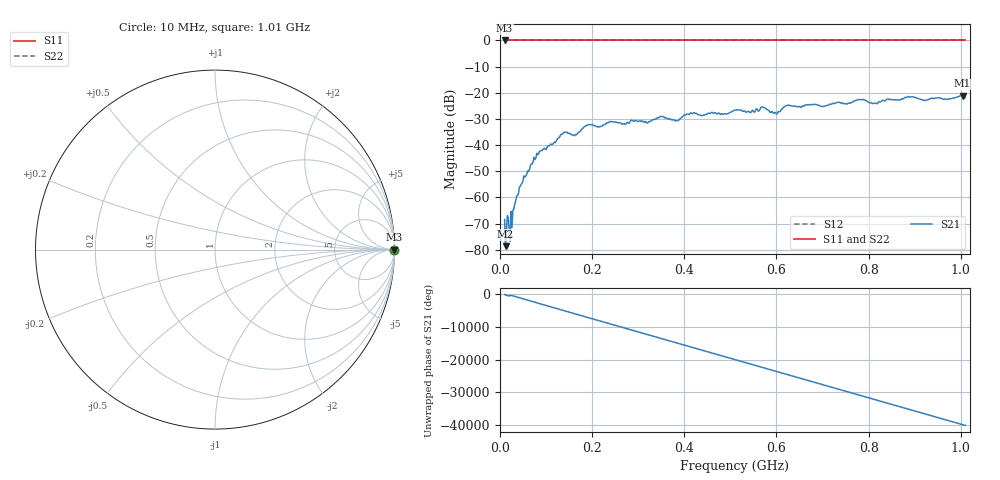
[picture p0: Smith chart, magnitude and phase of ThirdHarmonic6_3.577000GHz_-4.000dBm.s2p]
! 8/17/2025 11:52:04 AM
! C:\ANRITSUVNA\TEMP\TEMP.S2P
! CHANNEL.1
! TR.MEASUREMENT
! RAW.DATA
! RF.CORRECTION.OFF
! AVERAGING.OFF
! IF.BANDWIDTH: 5KHZ
! SWEEPTYPE:  FREQ.SWEEP(Linear)
! Reference Plane Port Info
! PORT:  PORT1  PORT2
! DISTANCE:  0  m  0  m
! TIME:  0  s  0  s
! PHASE.OFFSET:  0  deg.  0  deg.
! LOSS:  0  dB  0  dB
! REF.LOSS:  0  dB  0  dB
! REF.FREQ:  0  Hz  0  Hz
! Power Info
! POWER:  -20  dBm  -20  dBm
! EFF.POWER:  -20  dBm  -20  dBm
! SOURCE.ATTEN:  0  dB  0  dB
! TEST.ATTEN:  0  dB  0  dB
# GHZ S RI R 50.0
! FREQ.GHZ  S11RE  S11IM  S21RE  S21IM  S12RE  S12IM  S22RE  S22IM
!; PortSelection: Port_12
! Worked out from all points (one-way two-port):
!   501 points, 10 MHz to 1.01 GHz, reference 50 ohm
!   highest |S21| = -21.13 dB at 1.004 GHz (marker M1); lowest = -78.6 dB at 12 MHz (marker M2)
!   lowest |S11| = 0.0 dB at 10 MHz (marker M3)
!   |S11| at or under -10 dB: nowhere
!   |S22| runs from 0.0 to 0.0 dB; largest |S21 - S12| = 1.1
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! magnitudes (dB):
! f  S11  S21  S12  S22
! 10 MHz  0.0  -68.4  0.0  0.0
! 12 MHz  0.0  -78.6  0.0  0.0
! 24 MHz  0.0  -65.3  0.0  0.0
! 32 MHz  0.0  -62.4  0.0  0.0
! 46 MHz  0.0  -54.9  0.0  0.0
! 84 MHz  0.0  -43.2  0.0  0.0
! 136 MHz  0.0  -35.7  0.0  0.0
! 162 MHz  0.0  -36.4  0.0  0.0
! 178 MHz  0.0  -33.8  0.0  0.0
! 192 MHz  0.0  -32.2  0.0  0.0
! 322 MHz  0.0  -31.2  0.0  0.0
! 344 MHz  0.0  -29.6  0.0  0.0
! 384 MHz  0.0  -30.7  0.0  0.0
! 418 MHz  0.0  -28.0  0.0  0.0
! 510 MHz  0.0  -26.6  0.0  0.0
! 570 MHz  0.0  -25.4  0.0  0.0
! 598 MHz  0.0  -27.6  0.0  0.0
! 624 MHz  0.0  -24.7  0.0  0.0
! 678 MHz  0.0  -24.5  0.0  0.0
! 844 MHz  0.0  -22.5  0.0  0.0
! 1.004 GHz  0.0  -21.1  0.0  0.0
! 1.01 GHz  0.0  -21.8  0.0  0.0
